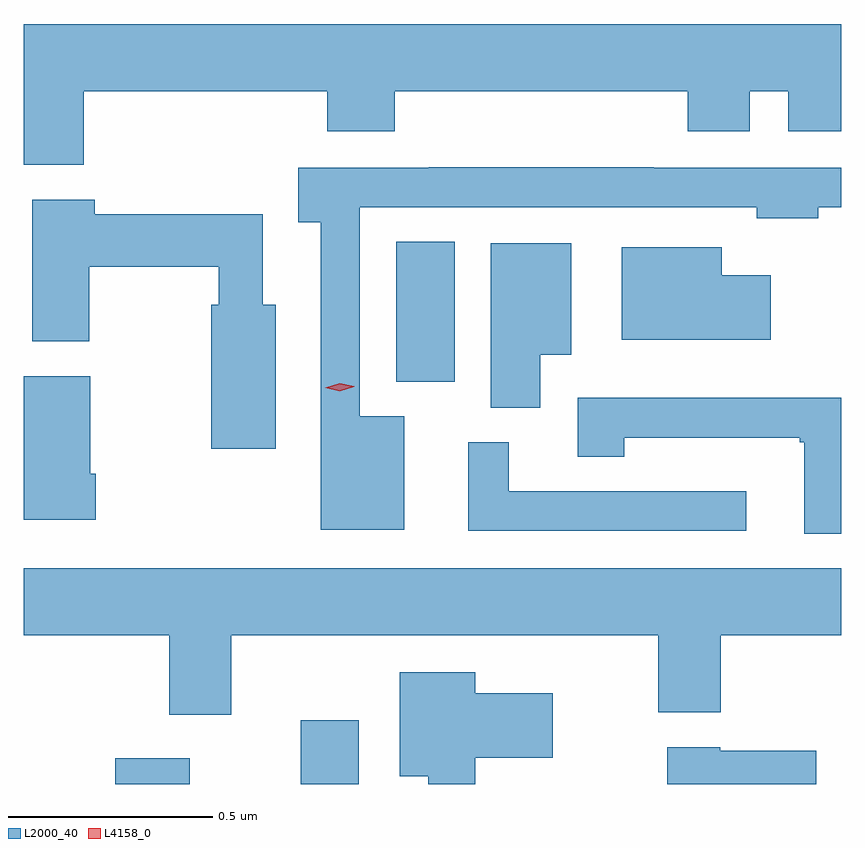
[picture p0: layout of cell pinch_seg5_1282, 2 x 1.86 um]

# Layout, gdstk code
import gdstk
lib = gdstk.Library(unit=1e-6, precision=1e-09)
def R(c, l, rs):  # rectangles x0, y0, x1, y1
    for r in rs: c.add(gdstk.rectangle(r[:2], r[2:], *l))
def P(c, l, *ps):  # polygons
    for p in ps: c.add(gdstk.Polygon(p, *l))
L2000_40 = (2000, 40)
L4158_0 = (4158, 0)

pinch_seg5_1282 = lib.new_cell('pinch_seg5_1282')
R(pinch_seg5_1282, L2000_40, [(425.96,881.704,426.142,881.767), (426.413,881.704,426.556,881.86), (426.647,882.689,426.79,883.031)])
P(pinch_seg5_1282, L2000_40, [(425.882,883.4),(426.479,883.4),(426.479,883.301),(426.644,883.301),(426.644,883.4),(427.361,883.4),(427.361,883.301),(427.513,883.301),(427.513,883.4),(427.607,883.4),(427.607,883.301),(427.736,883.301),(427.736,883.564),(425.736,883.564),(425.736,883.219),(425.882,883.219)],
  [(426.667,882.604),(426.558,882.604),(426.558,883.116),(427.53,883.116),(427.53,883.088),(427.68,883.088),(427.68,883.116),(427.736,883.116),(427.736,883.212),(427.277,883.212),(427.277,883.214),(426.727,883.214),(426.727,883.212),(426.408,883.212),(426.408,883.079),(426.462,883.079),(426.462,882.326),(426.667,882.326)],
  [(426.352,882.877),(426.321,882.877),(426.321,883.099),(425.909,883.099),(425.909,883.134),(425.756,883.134),(425.756,882.787),(425.896,882.787),(425.896,882.97),(426.213,882.97),(426.213,882.877),(426.194,882.877),(426.194,882.525),(426.352,882.525)],
  [(427,882.755),(427.075,882.755),(427.075,883.027),(426.878,883.027),(426.878,882.625),(427,882.625)],
  [(427.564,882.949),(427.444,882.949),(427.444,883.018),(427.199,883.018),(427.199,882.791),(427.564,882.791)],
  [(425.912,882.463),(425.899,882.463),(425.899,882.702),(425.736,882.702),(425.736,882.351),(425.912,882.351)],
  [(427.736,882.649),(427.092,882.649),(427.092,882.505),(427.205,882.505),(427.205,882.551),(427.635,882.551),(427.635,882.54),(427.646,882.54),(427.646,882.317),(427.736,882.317)],
  [(427.504,882.42),(426.922,882.42),(426.922,882.54),(426.824,882.54),(426.824,882.324),(427.504,882.324)],
  [(426.244,882.068),(427.289,882.068),(427.289,881.879),(427.442,881.879),(427.442,882.068),(427.736,882.068),(427.736,882.232),(425.736,882.232),(425.736,882.068),(426.092,882.068),(426.092,881.874),(426.244,881.874)],
  [(426.841,881.768),(427.03,881.768),(427.03,881.926),(426.841,881.926),(426.841,881.977),(426.656,881.977),(426.656,881.723),(426.725,881.723),(426.725,881.704),(426.841,881.704)],
  [(427.675,881.785),(427.44,881.785),(427.44,881.794),(427.31,881.794),(427.31,881.704),(427.675,881.704)])
P(pinch_seg5_1282, L4158_0, [(426.509,882.665),(426.473,882.674),(426.473,882.674),(426.473,882.674),(426.509,882.685),(426.545,882.677),(426.545,882.676),(426.545,882.676)])

lib.write_gds('pinch_seg5_1282.gds')
